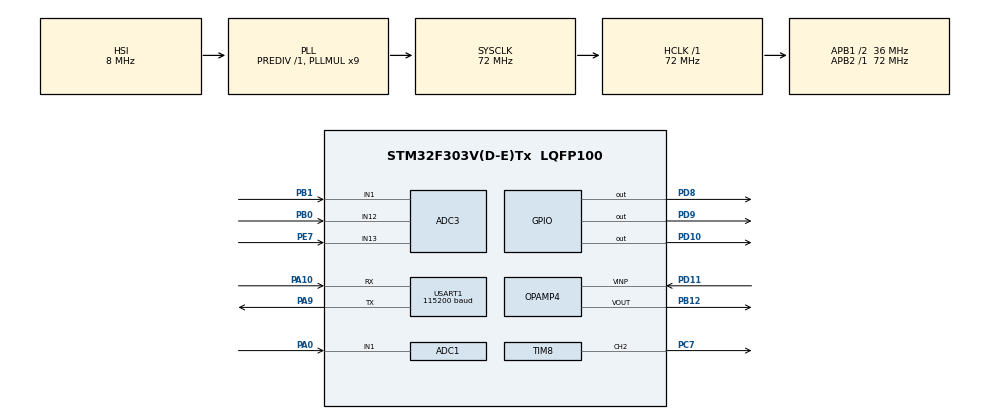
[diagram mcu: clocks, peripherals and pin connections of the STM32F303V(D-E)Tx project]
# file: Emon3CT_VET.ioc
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ADC1.Channel-0\#ChannelRegularConversion=ADC_CHANNEL_1
ADC1.ClockPrescaler=ADC_CLOCK_SYNC_PCLK_DIV4
ADC1.ContinuousConvMode=ENABLE
ADC1.DMAContinuousRequests=ENABLE
ADC1.DataAlign=ADC_DATAALIGN_RIGHT
ADC1.DiscontinuousConvMode=DISABLE
ADC1.EOCSelection=ADC_EOC_SEQ_CONV
ADC1.EnableAnalogWatchDog1=false
ADC1.EnableAnalogWatchDog2=false
ADC1.EnableAnalogWatchDog3=false
ADC1.EnableInjectedConversion=ENABLE
ADC1.EnableRegularConversion=ENABLE
ADC1.ExternalTrigConv=ADC_EXTERNALTRIGCONV_T8_TRGO2
ADC1.ExternalTrigConvEdge=ADC_EXTERNALTRIGCONVEDGE_RISING
ADC1.InjNumberOfConversion=0
ADC1.LowPowerAutoWait=DISABLE
ADC1.NbrOfConversion=1
ADC1.NbrOfConversionFlag=1
ADC1.Offset-0\#ChannelRegularConversion=0
ADC1.OffsetNumber-0\#ChannelRegularConversion=ADC_OFFSET_NONE
ADC1.Overrun=ADC_OVR_DATA_OVERWRITTEN
ADC1.Rank-0\#ChannelRegularConversion=1
ADC1.Resolution=ADC_RESOLUTION_12B
ADC1.SamplingTime-0\#ChannelRegularConversion=ADC_SAMPLETIME_181CYCLES_5
ADC1.ScanConvMode=ADC_SCAN_DISABLE
ADC1.master=1
ADC3.Channel-0\#ChannelRegularConversion=ADC_CHANNEL_12
ADC3.Channel-1\#ChannelRegularConversion=ADC_CHANNEL_1
ADC3.Channel-2\#ChannelRegularConversion=ADC_CHANNEL_13
ADC3.ClockPrescaler=ADC_CLOCK_SYNC_PCLK_DIV4
ADC3.ContinuousConvMode=ENABLE
ADC3.DMAContinuousRequests=ENABLE
ADC3.EOCSelection=ADC_EOC_SEQ_CONV
ADC3.ExternalTrigConv=ADC_EXTERNALTRIGCONV_T8_TRGO2
ADC3.NbrOfConversion=3
ADC3.NbrOfConversionFlag=1
ADC3.Offset-0\#ChannelRegularConversion=0
ADC3.Offset-1\#ChannelRegularConversion=0
ADC3.Offset-2\#ChannelRegularConversion=0
ADC3.OffsetNumber-0\#ChannelRegularConversion=ADC_OFFSET_NONE
ADC3.OffsetNumber-1\#ChannelRegularConversion=ADC_OFFSET_NONE
ADC3.OffsetNumber-2\#ChannelRegularConversion=ADC_OFFSET_NONE
ADC3.Rank-0\#ChannelRegularConversion=1
ADC3.Rank-1\#ChannelRegularConversion=2
ADC3.Rank-2\#ChannelRegularConversion=3
ADC3.SamplingTime-0\#ChannelRegularConversion=ADC_SAMPLETIME_181CYCLES_5
ADC3.SamplingTime-1\#ChannelRegularConversion=ADC_SAMPLETIME_181CYCLES_5
ADC3.SamplingTime-2\#ChannelRegularConversion=ADC_SAMPLETIME_181CYCLES_5
ADC3.master=1
Dma.ADC1.1.Direction=DMA_PERIPH_TO_MEMORY
Dma.ADC1.1.Instance=DMA1_Channel1
Dma.ADC1.1.MemDataAlignment=DMA_MDATAALIGN_HALFWORD
Dma.ADC1.1.MemInc=DMA_MINC_ENABLE
Dma.ADC1.1.Mode=DMA_CIRCULAR
Dma.ADC1.1.PeriphDataAlignment=DMA_PDATAALIGN_HALFWORD
Dma.ADC1.1.PeriphInc=DMA_PINC_DISABLE
Dma.ADC1.1.Priority=DMA_PRIORITY_HIGH
Dma.ADC3.0.Direction=DMA_PERIPH_TO_MEMORY
Dma.ADC3.0.Instance=DMA2_Channel5
Dma.ADC3.0.MemDataAlignment=DMA_MDATAALIGN_HALFWORD
Dma.ADC3.0.MemInc=DMA_MINC_ENABLE
Dma.ADC3.0.Mode=DMA_CIRCULAR
Dma.ADC3.0.PeriphDataAlignment=DMA_PDATAALIGN_HALFWORD
Dma.ADC3.0.PeriphInc=DMA_PINC_DISABLE
Dma.ADC3.0.Priority=DMA_PRIORITY_HIGH
Dma.Request0=ADC3
Dma.Request1=ADC1
Mcu.Family=STM32F3
Mcu.Name=STM32F303V(D-E)Tx
Mcu.Package=LQFP100
NVIC.DMA1_Channel1_IRQn=true\:0\:0\:false\:false\:true\:false
NVIC.DMA2_Channel5_IRQn=true\:0\:0\:false\:false\:true\:false
NVIC.PriorityGroup=NVIC_PRIORITYGROUP_4
PA0.Mode=IN1-Single-Ended
PA0.Signal=ADC1_IN1
PA10.Mode=Asynchronous
PA10.Signal=USART1_RX
PA9.Mode=Asynchronous
PA9.Signal=USART1_TX
PB0.Mode=IN12-Single-Ended
PB0.Signal=ADC3_IN12
PB1.Mode=IN1-Single-Ended
PB1.Signal=ADC3_IN1
PB12.Mode=Follower
PB12.Signal=OPAMP4_VOUT
PC7.Signal=S_TIM8_CH2
PD10.Signal=GPIO_Output
PD11.Mode=Follower
PD11.Signal=OPAMP4_VINP
PD8.Signal=GPIO_Output
PD9.Signal=GPIO_Output
PE7.Mode=IN13-Single-Ended
PE7.Signal=ADC3_IN13
PF0-OSC_IN.Mode=HSE-External-Oscillator
PF0-OSC_IN.Signal=RCC_OSC_IN
PF1-OSC_OUT.Mode=HSE-External-Oscillator
PF1-OSC_OUT.Signal=RCC_OSC_OUT
ProjectManager.HeapSize=0x200
ProjectManager.StackSize=0x400
ProjectManager.TargetToolchain=Makefile
RCC.AHBFreq_Value=72000000
RCC.APB1CLKDivider=RCC_HCLK_DIV2
RCC.APB1Freq_Value=36000000
RCC.APB1TimFreq_Value=72000000
RCC.APB2Freq_Value=72000000
RCC.APB2TimFreq_Value=72000000
RCC.CortexFreq_Value=72000000
RCC.HCLKFreq_Value=72000000
RCC.HSE_VALUE=8000000
RCC.HSI_VALUE=8000000
RCC.LSE_VALUE=32768
RCC.PLLMUL=RCC_PLL_MUL9
RCC.SYSCLKFreq_VALUE=72000000
RCC.SYSCLKSourceVirtual=RCC_SYSCLKSOURCE_PLLCLK
RCC.USBFreq_Value=72000000
SH.S_TIM8_CH2.0=TIM8_CH2,PWM Generation2 CH2
TIM8.Channel-PWM\ Generation2\ CH2=TIM_CHANNEL_2
TIM8.Period=9999
TIM8.Prescaler=71
TIM8.TIM_MasterOutputTrigger2=TIM_TRGO2_OC2REF
USART1.BaudRate=115200
USART1.VirtualMode-Asynchronous=VM_ASYNC
board=custom

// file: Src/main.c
/**
  ******************************************************************************
  * @file           : main.c
  * @brief          : Main program body
  ******************************************************************************
  ** This notice applies to any and all portions of this file
  * that are not between comment pairs USER CODE BEGIN and
  * USER CODE END. Other portions of this file, whether
  * inserted by the user or by software development tools
  * are owned by their respective copyright owners.
  *
  * COPYRIGHT(c) 2020 STMicroelectronics
  *
  * Redistribution and use in source and binary forms, with or without modification,
  * are permitted provided that the following conditions are met:
  *   1. Redistributions of source code must retain the above copyright notice,
  *      this list of conditions and the following disclaimer.
  *   2. Redistributions in binary form must reproduce the above copyright notice,
  *      this list of conditions and the following disclaimer in the documentation
  *      and/or other materials provided with the distribution.
  *   3. Neither the name of STMicroelectronics nor the names of its contributors
  *      may be used to endorse or promote products derived from this software
  *      without specific prior written permission.
  *
  * THIS SOFTWARE IS PROVIDED BY THE COPYRIGHT HOLDERS AND CONTRIBUTORS "AS IS"
  * AND ANY EXPRESS OR IMPLIED WARRANTIES, INCLUDING, BUT NOT LIMITED TO, THE
  * IMPLIED WARRANTIES OF MERCHANTABILITY AND FITNESS FOR A PARTICULAR PURPOSE ARE
  * DISCLAIMED. IN NO EVENT SHALL THE COPYRIGHT HOLDER OR CONTRIBUTORS BE LIABLE
  * FOR ANY DIRECT, INDIRECT, INCIDENTAL, SPECIAL, EXEMPLARY, OR CONSEQUENTIAL
  * DAMAGES (INCLUDING, BUT NOT LIMITED TO, PROCUREMENT OF SUBSTITUTE GOODS OR
  * SERVICES; LOSS OF USE, DATA, OR PROFITS; OR BUSINESS INTERRUPTION) HOWEVER
  * CAUSED AND ON ANY THEORY OF LIABILITY, WHETHER IN CONTRACT, STRICT LIABILITY,
  * OR TORT (INCLUDING NEGLIGENCE OR OTHERWISE) ARISING IN ANY WAY OUT OF THE USE
  * OF THIS SOFTWARE, EVEN IF ADVISED OF THE POSSIBILITY OF SUCH DAMAGE.
  *
  ******************************************************************************
  */
#include "main.h"
#include "stm32f3xx_hal.h"
#include "adc.h"
#include "dma.h"
#include "opamp.h"
#include "tim.h"
#include "usart.h"
#include "gpio.h"

/* USER CODE BEGIN Includes */
#include <string.h>
#include <math.h>
/* USER CODE END Includes */

/* USER CODE BEGIN PV */
/* Private variables ---------------------------------------------------------*/

#define true 1
#define false 0
#define MID_ADC_READING 2048

// Serial output buffer
char log_buffer[100];

// Flag
int8_t readings_ready = false;

// Calibration
double VCAL = 268.97;
double ICAL = 90.91;

// ISR accumulators
typedef struct channel_ {
  int64_t sum_P;
  uint64_t sum_V_sq;
  uint64_t sum_I_sq;
  int64_t sum_V;
  int64_t sum_I;
  uint32_t count;

  uint16_t positive_V;
  uint16_t last_positive_V;
  uint32_t cycles;
} channel_t;

static channel_t channels[3];
static channel_t channels_copy[3];

/* USER CODE END PV */

void SystemClock_Config(void);

/* USER CODE BEGIN PFP */
/* Private function prototypes -----------------------------------------------*/

/* USER CODE END PFP */

/* USER CODE BEGIN 0 */
void process_frame(uint16_t offset)
{
  uint16_t sample_V, sample_I;
  int16_t signed_V, signed_I;

  // HAL_GPIO_WritePin(GPIOB, GPIO_PIN_5, GPIO_PIN_SET);
  for (int i=0; i<3000; i+=3) {
    // Cycle through channels
    for (int n=0; n<3; n++) {
      channel_t* channel = &channels[n];

      // ----------------------------------------
      // Voltage
      sample_V = adc1_dma_buff[offset+i+n];
      signed_V = sample_V - MID_ADC_READING;
      channel->sum_V += signed_V;
      channel->sum_V_sq += signed_V * signed_V;
      // ----------------------------------------
      // Current
      sample_I = adc3_dma_buff[offset+i+n];
      signed_I = sample_I - MID_ADC_READING;
      channel->sum_I += signed_I;
      channel->sum_I_sq += signed_I * signed_I;
      // ----------------------------------------
      // Power
      channel->sum_P += signed_V * signed_I;

      channel->count ++;

      // Zero crossing detection
      channel->last_positive_V = channel->positive_V;
      if (signed_V > 0) channel->positive_V = true; else channel->positive_V = false;
      if (!channel->last_positive_V && channel->positive_V) channel->cycles++;

      // 125 cycles or 2.5 seconds
      if (channel->cycles>=125) {
        channel->cycles = 0;

        channel_t* channel_copy = &channels_copy[n];
        // Copy accumulators for use in main loop
        memcpy ((void*)channel_copy, (void*)channel, sizeof(channel_t));
        // Reset accumulators to zero ready for next set of measurements
        memset((void*)channel, 0, sizeof(channel_t));

        if (n==2) {
          readings_ready = true;
        }
      }
    }
  }
  // HAL_GPIO_WritePin(GPIOB, GPIO_PIN_5, GPIO_PIN_RESET);
}

/* USER CODE END 0 */

int main(void)
{

  /* MCU Configuration----------------------------------------------------------*/

  /* Reset of all peripherals, Initializes the Flash interface and the Systick. */
  HAL_Init();

  /* USER CODE BEGIN Init */
  double V_RATIO = VCAL * (3.3 / 4096.0);
  double I_RATIO = ICAL * (3.3 / 4096.0);
  /* USER CODE END Init */

  /* Configure the system clock */
  SystemClock_Config();

  /* Initialize all configured peripherals */
  MX_GPIO_Init();
  MX_DMA_Init();
  MX_USART1_UART_Init();
  MX_ADC1_Init();
  MX_ADC3_Init();
  MX_TIM8_Init();
  MX_OPAMP4_Init();
  /* USER CODE BEGIN 2 */

  HAL_OPAMP_Start(&hopamp4);

  sprintf(log_buffer,"CH\tVrms\tIrms\tRP\tAP\tPF\tCount\r\n");
  debug_printf(log_buffer);

  start_ADCs();

  /* USER CODE END 2 */

  /* Infinite loop */
  /* USER CODE BEGIN WHILE */
  while (1)
  {
    if (conv_hfcplt_flag) {
      conv_hfcplt_flag = false;
      process_frame(0);
    }

    if (conv_cplt_flag)  {
      conv_cplt_flag = false;
      process_frame(3000);
    }

     if (readings_ready) {
       readings_ready = false;

       for (int n=0; n<3; n++) {
         channel_t* chn = &channels_copy[n];

         double Vmean = 1.0 * chn->sum_V / chn->count;
         double Imean = 1.0 * chn->sum_I / chn->count;

         double f32sum_V_sq_avg = 1.0 * chn->sum_V_sq / chn->count;
         f32sum_V_sq_avg -= (Vmean * Vmean); // offset removal

         double f32sum_I_sq_avg = 1.0 * chn->sum_I_sq / chn->count;
         f32sum_I_sq_avg -= (Imean * Imean); // offset removal

         double Vrms = V_RATIO * sqrt(f32sum_V_sq_avg);
         double Irms = I_RATIO * sqrt(f32sum_I_sq_avg);

         double f32_sum_P_avg = 1.0 * chn->sum_P / chn->count;
         double mean_P = f32_sum_P_avg - (Vmean * Imean); // offset removal

         double realPower = V_RATIO * I_RATIO * mean_P;

         double apparentPower = Vrms * Irms;
         double powerFactor = realPower / apparentPower;

         sprintf(log_buffer,"CH:%d\t%.2f\t%.3f\t%.1f\t%.1f\t%.3f\t%d\r\n", n, Vrms, Irms, realPower, apparentPower, powerFactor, chn->count);
         debug_printf(log_buffer);
       }

       sprintf(log_buffer,"\r\n");
       debug_printf(log_buffer);
     }
  /* USER CODE END WHILE */

  }

}

void SystemClock_Config(void)
{

  RCC_OscInitTypeDef RCC_OscInitStruct;
  RCC_ClkInitTypeDef RCC_ClkInitStruct;
  RCC_PeriphCLKInitTypeDef PeriphClkInit;

    /**Initializes the CPU, AHB and APB busses clocks
    */
  RCC_OscInitStruct.OscillatorType = RCC_OSCILLATORTYPE_HSI;
  RCC_OscInitStruct.HSIState = RCC_HSI_ON;
  RCC_OscInitStruct.HSICalibrationValue = 16;
  RCC_OscInitStruct.PLL.PLLState = RCC_PLL_ON;
  RCC_OscInitStruct.PLL.PLLSource = RCC_PLLSOURCE_HSI;
  RCC_OscInitStruct.PLL.PLLMUL = RCC_PLL_MUL9;
  RCC_OscInitStruct.PLL.PREDIV = RCC_PREDIV_DIV1;
  if (HAL_RCC_OscConfig(&RCC_OscInitStruct) != HAL_OK)
  {
    _Error_Handler(__FILE__, __LINE__);
  }

    /**Initializes the CPU, AHB and APB busses clocks
    */
  RCC_ClkInitStruct.ClockType = RCC_CLOCKTYPE_HCLK|RCC_CLOCKTYPE_SYSCLK
                              |RCC_CLOCKTYPE_PCLK1|RCC_CLOCKTYPE_PCLK2;
  RCC_ClkInitStruct.SYSCLKSource = RCC_SYSCLKSOURCE_PLLCLK;
  RCC_ClkInitStruct.AHBCLKDivider = RCC_SYSCLK_DIV1;
  RCC_ClkInitStruct.APB1CLKDivider = RCC_HCLK_DIV2;
  RCC_ClkInitStruct.APB2CLKDivider = RCC_HCLK_DIV1;

  if (HAL_RCC_ClockConfig(&RCC_ClkInitStruct, FLASH_LATENCY_2) != HAL_OK)
  {
    _Error_Handler(__FILE__, __LINE__);
  }

  PeriphClkInit.PeriphClockSelection = RCC_PERIPHCLK_USART1|RCC_PERIPHCLK_TIM8;
  PeriphClkInit.Usart1ClockSelection = RCC_USART1CLKSOURCE_PCLK2;
  PeriphClkInit.Tim8ClockSelection = RCC_TIM8CLK_HCLK;
  if (HAL_RCCEx_PeriphCLKConfig(&PeriphClkInit) != HAL_OK)
  {
    _Error_Handler(__FILE__, __LINE__);
  }

    /**Configure the Systick interrupt time
    */
  HAL_SYSTICK_Config(HAL_RCC_GetHCLKFreq()/1000);

    /**Configure the Systick
    */
  HAL_SYSTICK_CLKSourceConfig(SYSTICK_CLKSOURCE_HCLK);

  /* SysTick_IRQn interrupt configuration */
  HAL_NVIC_SetPriority(SysTick_IRQn, 0, 0);
}

void _Error_Handler(char *file, int line)
{
  while(1)
  {
  }
}

/************************ (C) COPYRIGHT STMicroelectronics *****END OF FILE****/
